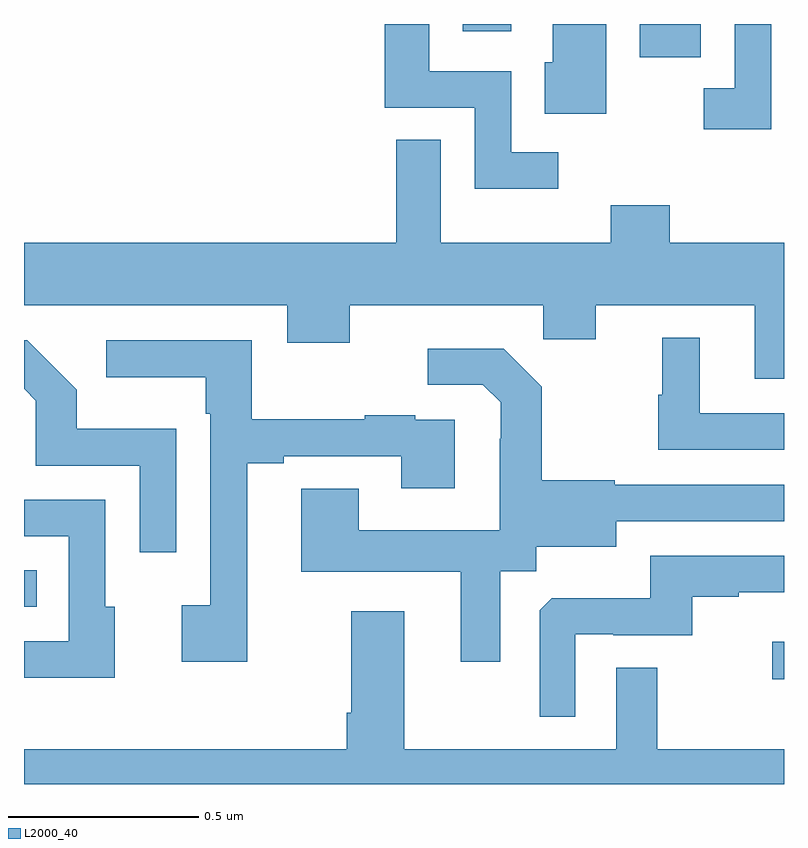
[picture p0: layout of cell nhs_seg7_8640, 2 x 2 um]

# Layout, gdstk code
import gdstk
lib = gdstk.Library(unit=1e-6, precision=1e-09)
def R(c, l, rs):  # rectangles x0, y0, x1, y1
    for r in rs: c.add(gdstk.rectangle(r[:2], r[2:], *l))
def P(c, l, *ps):  # polygons
    for p in ps: c.add(gdstk.Polygon(p, *l))
L2000_40 = (2000, 40)

nhs_seg7_8640 = lib.new_cell('nhs_seg7_8640')
R(nhs_seg7_8640, L2000_40, [(228.969,1022.276,229,1022.374), (227,1022.466,227.033,1022.562), (228.62,1023.912,228.781,1024), (228.155,1023.981,228.282,1024)])
P(nhs_seg7_8640, L2000_40, [(228.406,1023.663),(228.282,1023.663),(228.282,1023.876),(228.067,1023.876),(228.067,1024),(227.949,1024),(227.949,1023.78),(228.186,1023.78),(228.186,1023.566),(228.406,1023.566)],
  [(228.966,1024),(228.87,1024),(228.87,1023.831),(228.789,1023.831),(228.789,1023.723),(228.966,1023.723)],
  [(228.532,1024),(228.392,1024),(228.392,1023.9),(228.371,1023.9),(228.371,1023.764),(228.532,1023.764)],
  [(229,1023.424),(228.699,1023.424),(228.699,1023.523),(228.544,1023.523),(228.544,1023.424),(228.097,1023.424),(228.097,1023.695),(227.979,1023.695),(227.979,1023.424),(227,1023.424),(227,1023.26),(227.693,1023.26),(227.693,1023.161),(227.857,1023.161),(227.857,1023.26),(228.367,1023.26),(228.367,1023.17),(228.505,1023.17),(228.505,1023.26),(228.923,1023.26),(228.923,1023.066),(229,1023.066)],
  [(229,1022.976),(228.778,1022.976),(228.778,1023.175),(228.68,1023.175),(228.68,1023.024),(228.669,1023.024),(228.669,1022.88),(229,1022.88)],
  [(227.587,1022.844),(227.683,1022.844),(227.683,1022.862),(227.993,1022.862),(227.993,1022.778),(228.133,1022.778),(228.133,1022.958),(228.029,1022.958),(228.029,1022.971),(227.897,1022.971),(227.897,1022.96),(227.599,1022.96),(227.599,1023.168),(227.217,1023.168),(227.217,1023.071),(227.478,1023.071),(227.478,1022.975),(227.49,1022.975),(227.49,1022.47),(227.415,1022.47),(227.415,1022.322),(227.587,1022.322)],
  [(227.4,1022.935),(227.139,1022.935),(227.139,1023.038),(227.008,1023.168),(227,1023.168),(227,1023.04),(227.031,1023.009),(227.031,1022.838),(227.304,1022.838),(227.304,1022.61),(227.4,1022.61)],
  [(228.253,1022.56),(228.348,1022.56),(228.348,1022.624),(228.559,1022.624),(228.559,1022.691),(229,1022.691),(229,1022.787),(228.555,1022.787),(228.555,1022.8),(228.363,1022.8),(228.363,1023.045),(228.263,1023.145),(228.063,1023.145),(228.063,1023.051),(228.207,1023.051),(228.254,1023.004),(228.254,1022.909),(228.252,1022.909),(228.252,1022.668),(227.881,1022.668),(227.881,1022.777),(227.729,1022.777),(227.729,1022.558),(228.149,1022.558),(228.149,1022.322),(228.253,1022.322)],
  [(227.239,1022.466),(227.214,1022.466),(227.214,1022.748),(227,1022.748),(227,1022.652),(227.118,1022.652),(227.118,1022.376),(227,1022.376),(227,1022.28),(227.021,1022.28),(227.021,1022.279),(227.239,1022.279)],
  [(228.45,1022.394),(228.55,1022.394),(228.55,1022.391),(228.758,1022.391),(228.758,1022.493),(228.881,1022.493),(228.881,1022.504),(229,1022.504),(229,1022.601),(228.648,1022.601),(228.648,1022.489),(228.389,1022.489),(228.357,1022.457),(228.357,1022.177),(228.45,1022.177)],
  [(229,1022.092),(228.667,1022.092),(228.667,1022.306),(228.558,1022.306),(228.558,1022.092),(228.001,1022.092),(228.001,1022.455),(227.861,1022.455),(227.861,1022.188),(227.849,1022.188),(227.849,1022.092),(227,1022.092),(227,1022),(229,1022)])

lib.write_gds('nhs_seg7_8640.gds')
